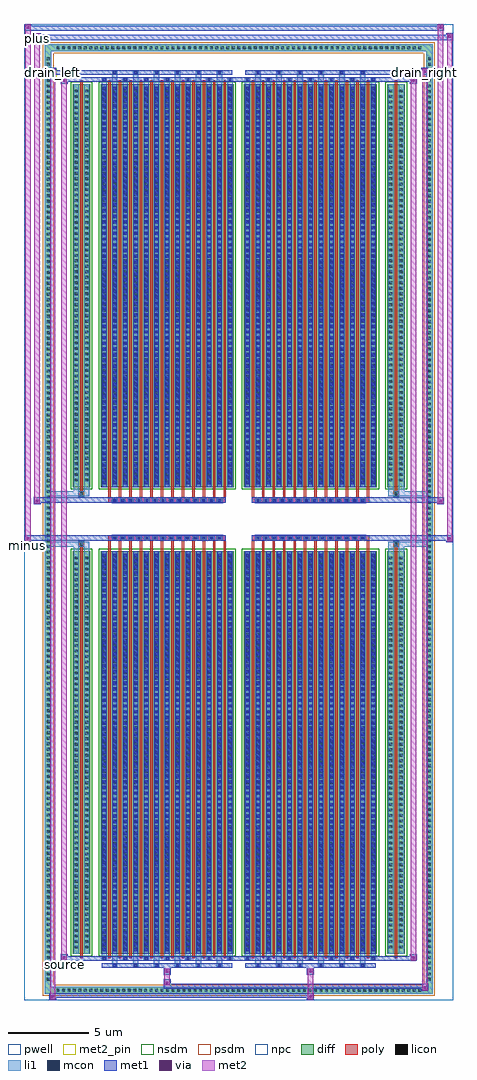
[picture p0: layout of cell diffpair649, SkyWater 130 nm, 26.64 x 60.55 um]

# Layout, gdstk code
import gdstk
lib = gdstk.Library(unit=1e-6, precision=5e-09)
def R(c, l, rs):  # rectangles x0, y0, x1, y1
    for r in rs: c.add(gdstk.rectangle(r[:2], r[2:], *l))
def A(c, l, x, y, w, h, nx, ny, dx, dy):  # array of equal rectangles
    R(c, l, [(x+i*dx, y+j*dy, x+i*dx+w, y+j*dy+h) for i in range(nx) for j in range(ny)])
def P(c, l, *ps):  # polygons
    for p in ps: c.add(gdstk.Polygon(p, *l))
pwell = (64, 44)
diff = (65, 20)
poly = (66, 20)
licon = (66, 44)
li1 = (67, 20)
mcon = (67, 44)
met1 = (68, 20)
via = (68, 44)
met2_pin = (69, 16)
met2 = (69, 20)
nsdm = (93, 44)
psdm = (94, 20)
npc = (95, 20)

diffpair649 = lib.new_cell('diffpair649')
R(diffpair649, pwell, [(-13.3,-29.84,13.3,30.71), (-10.62,-28.03,-0.01,-0.805), (0.01,-28.03,10.62,-0.805), (-10.62,0.805,-0.01,28.03), (0.01,0.805,10.62,28.03)])
A(diffpair649, diff, -11.425, -29.44, 0.41, 0.41, 67, 2, 0.34, 58.47)
A(diffpair649, diff, -12.03, -28.765, 0.41, 0.41, 1, 169, 0, 0.34)
A(diffpair649, diff, 11.62, -28.765, 0.41, 0.41, 1, 169, 0, 0.34)
R(diffpair649, diff, [(-11.425,-29.44,11.425,-29.03), (-12.03,-28.765,-11.62,28.765), (11.62,-28.765,12.03,28.765), (-10.31,-26.985,-9.21,-1.985), (-8.57,-26.985,-0.32,-1.985), (0.32,-26.985,8.57,-1.985), (9.21,-26.985,10.31,-1.985), (-10.31,1.985,-9.21,26.985), (-8.57,1.985,-0.32,26.985), (0.32,1.985,8.57,26.985), (9.21,1.985,10.31,26.985), (-11.425,29.03,11.425,29.44)])
P(diffpair649, diff, [(12.03,29.44),(-12.03,29.44),(-12.03,-29.03),(-11.62,-29.03),(-11.62,29.03),(11.62,29.03),(11.62,-29.03),(-11.62,-29.03),(-12.03,-29.03),(-12.03,-29.44),(12.03,-29.44)])
A(diffpair649, poly, -8.095, -27.235, 0.15, 25.5, 12, 2, 0.65, 28.97)
A(diffpair649, poly, 0.795, -27.235, 0.15, 25.5, 12, 2, 0.65, 28.97)
A(diffpair649, poly, -8.095, -1.735, 0.15, 0.4, 12, 2, 0.65, 3.07)
A(diffpair649, poly, 0.795, -1.735, 0.15, 0.4, 12, 2, 0.65, 3.07)
A(diffpair649, poly, -7.86, -1.335, 0.33, 0.33, 14, 2, 0.5, 2.34)
A(diffpair649, poly, 1.03, -1.335, 0.33, 0.33, 14, 2, 0.5, 2.34)
R(diffpair649, poly, [(-9.835,-27.235,-9.685,-1.735), (9.685,-27.235,9.835,-1.735), (-9.925,-1.735,-9.595,-1.405), (-9.925,-1.735,-9.595,-1.405), (9.595,-1.735,9.925,-1.405), (9.595,-1.735,9.925,-1.405), (-8.095,-1.335,-0.795,-1.005), (0.795,-1.335,8.095,-1.005), (-8.095,1.005,-0.795,1.335), (0.795,1.005,8.095,1.335), (-9.925,1.405,-9.595,1.735), (-9.925,1.405,-9.595,1.735), (9.595,1.405,9.925,1.735), (9.595,1.405,9.925,1.735), (-9.835,1.735,-9.685,27.235), (9.685,1.735,9.835,27.235)])
A(diffpair649, licon, -11.305, -29.32, 0.17, 0.17, 67, 2, 0.34, 58.47)
A(diffpair649, licon, -11.91, -28.645, 0.17, 0.17, 1, 169, 0, 0.34)
A(diffpair649, licon, 11.74, -28.645, 0.17, 0.17, 1, 169, 0, 0.34)
A(diffpair649, licon, -10.17, -26.64, 0.17, 0.17, 1, 72, 0, 0.34)
A(diffpair649, licon, -9.52, -26.64, 0.17, 0.17, 1, 72, 0, 0.34)
A(diffpair649, licon, -8.43, -26.64, 0.17, 0.17, 13, 72, 0.65, 0.34)
A(diffpair649, licon, 0.46, -26.64, 0.17, 0.17, 13, 72, 0.65, 0.34)
A(diffpair649, licon, 9.35, -26.64, 0.17, 0.17, 1, 72, 0, 0.34)
A(diffpair649, licon, 10, -26.64, 0.17, 0.17, 1, 72, 0, 0.34)
A(diffpair649, licon, -7.78, -1.255, 0.17, 0.17, 14, 2, 0.5, 2.34)
A(diffpair649, licon, 1.11, -1.255, 0.17, 0.17, 14, 2, 0.5, 2.34)
A(diffpair649, licon, -10.17, 2.33, 0.17, 0.17, 1, 72, 0, 0.34)
A(diffpair649, licon, -9.52, 2.33, 0.17, 0.17, 1, 72, 0, 0.34)
A(diffpair649, licon, -8.43, 2.33, 0.17, 0.17, 13, 72, 0.65, 0.34)
A(diffpair649, licon, 0.46, 2.33, 0.17, 0.17, 13, 72, 0.65, 0.34)
A(diffpair649, licon, 9.35, 2.33, 0.17, 0.17, 1, 72, 0, 0.34)
A(diffpair649, licon, 10, 2.33, 0.17, 0.17, 1, 72, 0, 0.34)
R(diffpair649, licon, [(-9.845,-1.655,-9.675,-1.485), (9.675,-1.655,9.845,-1.485), (-9.845,1.485,-9.675,1.655), (9.675,1.485,9.845,1.655)])
A(diffpair649, li1, -11.385, -29.4, 0.33, 0.33, 67, 2, 0.34, 58.47)
A(diffpair649, li1, -11.99, -28.725, 0.33, 0.33, 1, 169, 0, 0.34)
A(diffpair649, li1, 11.66, -28.725, 0.33, 0.33, 1, 169, 0, 0.34)
A(diffpair649, li1, -7.86, -27.79, 0.33, 0.805, 6, 2, 1.3, 54.775)
A(diffpair649, li1, -7.78, -27.79, 0.17, 0.17, 6, 2, 1.3, 55.41)
A(diffpair649, li1, 1.03, -27.79, 0.33, 0.805, 6, 2, 1.3, 54.775)
A(diffpair649, li1, 1.11, -27.79, 0.17, 0.17, 6, 2, 1.3, 55.41)
A(diffpair649, li1, -8.51, -27.36, 0.33, 0.375, 7, 2, 1.3, 54.345)
A(diffpair649, li1, -8.43, -27.36, 0.17, 0.17, 7, 2, 1.3, 54.55)
A(diffpair649, li1, 0.38, -27.36, 0.33, 0.375, 7, 2, 1.3, 54.345)
A(diffpair649, li1, 0.46, -27.36, 0.17, 0.17, 7, 2, 1.3, 54.55)
A(diffpair649, li1, -8.51, -26.985, 0.33, 25, 13, 2, 0.65, 28.97)
A(diffpair649, li1, 0.38, -26.985, 0.33, 25, 13, 2, 0.65, 28.97)
A(diffpair649, li1, -8.43, -26.81, 0.17, 0.17, 13, 69, 0.65, 0.36)
A(diffpair649, li1, -8.43, -26.81, 0.17, 24.65, 13, 2, 0.65, 28.97)
A(diffpair649, li1, 0.46, -26.81, 0.17, 0.17, 13, 69, 0.65, 0.36)
A(diffpair649, li1, 0.46, -26.81, 0.17, 24.65, 13, 2, 0.65, 28.97)
A(diffpair649, li1, -10.25, -26.72, 0.33, 0.33, 1, 72, 0, 0.34)
A(diffpair649, li1, -9.6, -26.72, 0.33, 0.33, 1, 72, 0, 0.34)
A(diffpair649, li1, -8.51, -26.72, 0.33, 0.33, 13, 72, 0.65, 0.34)
A(diffpair649, li1, 0.38, -26.72, 0.33, 0.33, 13, 72, 0.65, 0.34)
A(diffpair649, li1, 9.27, -26.72, 0.33, 0.33, 1, 72, 0, 0.34)
A(diffpair649, li1, 9.92, -26.72, 0.33, 0.33, 1, 72, 0, 0.34)
A(diffpair649, li1, -7.86, -1.335, 0.33, 0.33, 14, 2, 0.5, 2.34)
A(diffpair649, li1, 1.03, -1.335, 0.33, 0.33, 14, 2, 0.5, 2.34)
A(diffpair649, li1, -8.43, 2.16, 0.17, 0.17, 13, 69, 0.65, 0.36)
A(diffpair649, li1, 0.46, 2.16, 0.17, 0.17, 13, 69, 0.65, 0.36)
A(diffpair649, li1, -10.25, 2.25, 0.33, 0.33, 1, 72, 0, 0.34)
A(diffpair649, li1, -9.6, 2.25, 0.33, 0.33, 1, 72, 0, 0.34)
A(diffpair649, li1, -8.51, 2.25, 0.33, 0.33, 13, 72, 0.65, 0.34)
A(diffpair649, li1, 0.38, 2.25, 0.33, 0.33, 13, 72, 0.65, 0.34)
A(diffpair649, li1, 9.27, 2.25, 0.33, 0.33, 1, 72, 0, 0.34)
A(diffpair649, li1, 9.92, 2.25, 0.33, 0.33, 1, 72, 0, 0.34)
R(diffpair649, li1, [(-12.03,-29.44,-11.62,-29.03), (-12.03,-29.44,-11.62,-29.03), (-11.62,-29.44,11.62,-29.03), (11.62,-29.44,12.03,-29.03), (11.62,-29.44,12.03,-29.03), (-12.03,-29.03,-11.62,29.03), (11.62,-29.03,12.03,29.03), (-10.25,-26.985,-9.92,-1.985), (-9.6,-26.985,-9.27,-1.985), (9.27,-26.985,9.6,-1.985), (9.92,-26.985,10.25,-1.985), (-10.25,-1.985,-9.92,-1.405), (-9.6,-1.985,-9.27,-1.405), (9.27,-1.985,9.6,-1.405), (9.92,-1.985,10.25,-1.405), (-12.03,-1.735,-9.925,-1.405), (-10.25,-1.735,-9.925,-1.405), (-9.925,-1.735,-9.595,-1.405), (-9.595,-1.735,-9.27,-1.405), (9.27,-1.735,9.595,-1.405), (9.595,-1.735,9.925,-1.405), (9.595,-1.735,12.03,-1.405), (9.925,-1.735,10.25,-1.405), (-12.03,1.405,-9.925,1.735), (-10.25,1.405,-9.925,1.735), (-10.25,1.405,-9.92,1.985), (-9.925,1.405,-9.595,1.735), (-9.6,1.405,-9.27,1.985), (-9.595,1.405,-9.27,1.735), (9.27,1.405,9.595,1.735), (9.27,1.405,9.6,1.985), (9.595,1.405,9.925,1.735), (9.595,1.405,12.03,1.735), (9.92,1.405,10.25,1.985), (9.925,1.405,10.25,1.735), (-10.25,1.985,-9.92,26.985), (-9.6,1.985,-9.27,26.985), (9.27,1.985,9.6,26.985), (9.92,1.985,10.25,26.985), (-12.03,29.03,-11.62,29.44), (-12.03,29.03,-11.62,29.44), (-11.62,29.03,11.62,29.44), (11.62,29.03,12.03,29.44), (11.62,29.03,12.03,29.44)])
A(diffpair649, mcon, -7.78, -27.79, 0.17, 0.17, 6, 2, 1.3, 55.41)
A(diffpair649, mcon, 1.11, -27.79, 0.17, 0.17, 6, 2, 1.3, 55.41)
A(diffpair649, mcon, -8.43, -27.36, 0.17, 0.17, 7, 2, 1.3, 54.55)
A(diffpair649, mcon, 0.46, -27.36, 0.17, 0.17, 7, 2, 1.3, 54.55)
A(diffpair649, mcon, -8.43, -26.81, 0.17, 0.17, 13, 69, 0.65, 0.36)
A(diffpair649, mcon, 0.46, -26.81, 0.17, 0.17, 13, 69, 0.65, 0.36)
A(diffpair649, mcon, -7.78, -1.255, 0.17, 0.17, 14, 2, 0.5, 2.34)
A(diffpair649, mcon, 1.11, -1.255, 0.17, 0.17, 14, 2, 0.5, 2.34)
A(diffpair649, mcon, -8.43, 2.16, 0.17, 0.17, 13, 69, 0.65, 0.36)
A(diffpair649, mcon, 0.46, 2.16, 0.17, 0.17, 13, 69, 0.65, 0.36)
A(diffpair649, met1, -7.84, -27.85, 0.29, 0.29, 6, 2, 1.3, 55.41)
A(diffpair649, met1, 1.05, -27.85, 0.29, 0.29, 6, 2, 1.3, 55.41)
A(diffpair649, met1, -8.49, -27.42, 0.29, 0.29, 7, 2, 1.3, 54.55)
A(diffpair649, met1, 0.4, -27.42, 0.29, 0.29, 7, 2, 1.3, 54.55)
A(diffpair649, met1, -8.49, -26.985, 0.29, 25, 13, 2, 0.65, 28.97)
A(diffpair649, met1, 0.4, -26.985, 0.29, 25, 13, 2, 0.65, 28.97)
A(diffpair649, met1, -8.49, -26.87, 0.29, 0.29, 13, 69, 0.65, 0.36)
A(diffpair649, met1, 0.4, -26.87, 0.29, 0.29, 13, 69, 0.65, 0.36)
A(diffpair649, met1, -7.84, -1.315, 0.29, 0.29, 14, 2, 0.5, 2.34)
A(diffpair649, met1, 1.05, -1.315, 0.29, 0.29, 14, 2, 0.5, 2.34)
A(diffpair649, met1, -8.49, 2.1, 0.29, 0.29, 13, 69, 0.65, 0.36)
A(diffpair649, met1, 0.4, 2.1, 0.29, 0.29, 13, 69, 0.65, 0.36)
R(diffpair649, met1, [(-11.76,-29.84,-11.33,-29.41), (4.23,-29.84,4.66,-29.41), (-11.76,-29.7,4.66,-29.41), (11.33,-29.27,11.76,-28.84), (-4.66,-29.13,11.76,-28.84), (-4.66,-28.99,-4.23,-28.56), (-4.66,-28.28,-4.23,-27.85), (4.23,-28.28,4.66,-27.85), (-8.49,-27.85,-0.4,-27.56), (0.4,-27.85,8.49,-27.56), (-11.05,-27.42,-10.62,-26.99), (-11.05,-27.42,-8.49,-27.13), (-8.49,-27.42,-0.4,-27.13), (-0.4,-27.42,0.4,-27.13), (0.4,-27.42,8.49,-27.13), (8.49,-27.42,11.05,-27.13), (10.62,-27.42,11.05,-26.99), (-13.3,-1.435,-12.87,-1.005), (12.87,-1.435,13.3,-1.005), (-13.3,-1.335,-0.795,-1.005), (-8.095,-1.335,-0.795,-1.005), (0.795,-1.335,8.095,-1.005), (0.795,-1.335,13.3,-1.005), (-12.73,0.905,-12.3,1.335), (12.3,0.905,12.73,1.335), (-12.73,1.005,-8.095,1.335), (-8.095,1.005,-0.795,1.335), (0.795,1.005,8.095,1.335), (8.095,1.005,12.73,1.335), (-11.05,26.99,-10.62,27.42), (10.62,26.99,11.05,27.42), (-11.05,27.13,-8.49,27.42), (-8.49,27.13,-0.4,27.42), (-0.4,27.13,0.4,27.42), (0.4,27.13,8.49,27.42), (8.49,27.13,11.05,27.42), (-11.76,27.56,-11.33,27.99), (-11.76,27.56,-8.49,27.85), (-8.49,27.56,-0.4,27.85), (0.4,27.56,8.49,27.85), (8.49,27.56,11.76,27.85), (11.33,27.56,11.76,27.99), (-12.73,29.71,-12.3,30.14), (-12.73,29.71,-10.62,30.04), (-10.62,29.71,10.62,30.04), (10.62,29.71,13.3,30.04), (12.87,29.71,13.3,30.14), (-13.3,30.28,-12.87,30.71), (-13.3,30.28,-10.62,30.61), (-10.62,30.28,10.62,30.61), (10.62,30.28,12.73,30.61), (12.3,30.28,12.73,30.71)])
R(diffpair649, via, [(-11.62,-29.7,-11.47,-29.55), (4.37,-29.7,4.52,-29.55), (11.47,-29.13,11.62,-28.98), (-4.52,-28.85,-4.37,-28.7), (-4.52,-28.14,-4.37,-27.99), (4.37,-28.14,4.52,-27.99), (-10.91,-27.28,-10.76,-27.13), (10.76,-27.28,10.91,-27.13), (-13.16,-1.295,-13.01,-1.145), (13.01,-1.295,13.16,-1.145), (-12.59,1.045,-12.44,1.195), (12.44,1.045,12.59,1.195), (-10.91,27.13,-10.76,27.28), (10.76,27.13,10.91,27.28), (-11.62,27.7,-11.47,27.85), (11.47,27.7,11.62,27.85), (-12.59,29.85,-12.44,30), (13.01,29.85,13.16,30), (-13.16,30.42,-13.01,30.57), (12.44,30.42,12.59,30.57)])
R(diffpair649, met2_pin, [(-11.085,-27.87,-10.585,-27.37), (-13.335,-1.885,-12.835,-1.385), (-11.795,27.44,-11.295,27.94), (11.295,27.44,11.795,27.94), (-12.765,29.59,-12.265,30.09)])
R(diffpair649, met2, [(-11.71,-29.79,-11.38,-29.46), (-11.71,-29.79,-11.38,27.94), (4.28,-29.79,4.61,-29.46), (4.28,-29.46,4.61,-28.23), (11.38,-29.22,11.71,-28.89), (11.38,-29.22,11.71,27.94), (-4.61,-28.94,-4.28,-28.61), (-4.61,-28.61,-4.28,-28.23), (-4.61,-28.23,-4.28,-27.9), (4.28,-28.23,4.61,-27.9), (-11,-27.37,-10.67,-27.04), (-11,-27.37,-10.67,27.37), (10.67,-27.37,11,-27.04), (10.67,-27.37,11,27.37), (-13.25,-1.385,-12.92,-1.055), (-13.25,-1.385,-12.92,30.66), (12.92,-1.385,13.25,-1.055), (12.92,-1.385,13.25,30.09), (-12.68,0.955,-12.35,1.285), (-12.68,0.955,-12.35,30.09), (12.35,0.955,12.68,1.285), (12.35,0.955,12.68,30.66), (-11,27.04,-10.67,27.37), (10.67,27.04,11,27.37), (-11.71,27.61,-11.38,27.94), (11.38,27.61,11.71,27.94), (-12.68,29.76,-12.35,30.09), (12.92,29.76,13.25,30.09), (-13.25,30.33,-12.92,30.66), (12.35,30.33,12.68,30.66)])
P(diffpair649, met2, [(13.25,-1.385),(13.25,-1.385),(13.25,-1.055),(13.25,-1.055)],
  [(13.25,29.76),(13.25,29.76),(13.25,30.09),(13.25,30.09)],
  [(-12.92,-1.385),(-12.92,-1.385),(-12.92,-1.055),(-12.92,-1.055)],
  [(-12.92,30.33),(-12.92,30.33),(-12.92,30.66),(-12.92,30.66)],
  [(12.68,0.955),(12.68,0.955),(12.68,1.285),(12.68,1.285)],
  [(12.68,30.33),(12.68,30.33),(12.68,30.66),(12.68,30.66)],
  [(-12.35,0.955),(-12.35,0.955),(-12.35,1.285),(-12.35,1.285)],
  [(-12.35,29.76),(-12.35,29.76),(-12.35,30.09),(-12.35,30.09)],
  [(-11.38,-29.79),(-11.38,-29.79),(-11.38,-29.46),(-11.38,-29.46)],
  [(-11.38,27.61),(-11.38,27.61),(-11.38,27.94),(-11.38,27.94)],
  [(11.71,-29.22),(11.71,-29.22),(11.71,-28.89),(11.71,-28.89)],
  [(11.71,27.61),(11.71,27.61),(11.71,27.94),(11.71,27.94)],
  [(-10.67,-27.37),(-10.67,-27.37),(-10.67,-27.04),(-10.67,-27.04)],
  [(-10.67,27.04),(-10.67,27.04),(-10.67,27.37),(-10.67,27.37)],
  [(11,-27.37),(11,-27.37),(11,-27.04),(11,-27.04)],
  [(11,27.04),(11,27.04),(11,27.37),(11,27.37)])
R(diffpair649, nsdm, [(-10.44,-27.115,-9.08,-1.855), (-8.7,-27.115,-0.19,-1.855), (0.19,-27.115,8.7,-1.855), (9.08,-27.115,10.44,-1.855), (-10.44,1.855,-9.08,27.115), (-8.7,1.855,-0.19,27.115), (0.19,1.855,8.7,27.115), (9.08,1.855,10.44,27.115)])
P(diffpair649, psdm, [(12.16,29.57),(-12.16,29.57),(-12.16,-28.9),(-11.49,-28.9),(-11.49,28.9),(11.49,28.9),(11.49,-28.9),(-11.49,-28.9),(-12.16,-28.9),(-12.16,-29.57),(12.16,-29.57)])
A(diffpair649, npc, -7.88, -1.355, 0.37, 0.37, 14, 2, 0.5, 2.34)
A(diffpair649, npc, 1.01, -1.355, 0.37, 0.37, 14, 2, 0.5, 2.34)
R(diffpair649, npc, [(-9.945,-1.755,-9.575,-1.385), (9.575,-1.755,9.945,-1.385), (-7.88,-1.355,-7.01,-0.985), (-7.88,-1.355,-7.01,-0.985), (-7.38,-1.355,-6.51,-0.985), (-7.38,-1.355,-6.51,-0.985), (-6.88,-1.355,-6.01,-0.985), (-6.88,-1.355,-6.01,-0.985), (-6.38,-1.355,-5.51,-0.985), (-6.38,-1.355,-5.51,-0.985), (-5.88,-1.355,-5.01,-0.985), (-5.88,-1.355,-5.01,-0.985), (-5.38,-1.355,-4.51,-0.985), (-5.38,-1.355,-4.51,-0.985), (-4.88,-1.355,-4.01,-0.985), (-4.88,-1.355,-4.01,-0.985), (-4.38,-1.355,-3.51,-0.985), (-4.38,-1.355,-3.51,-0.985), (-3.88,-1.355,-3.01,-0.985), (-3.88,-1.355,-3.01,-0.985), (-3.38,-1.355,-2.51,-0.985), (-3.38,-1.355,-2.51,-0.985), (-2.88,-1.355,-2.01,-0.985), (-2.88,-1.355,-2.01,-0.985), (-2.38,-1.355,-1.51,-0.985), (-2.38,-1.355,-1.51,-0.985), (-1.88,-1.355,-1.01,-0.985), (-1.88,-1.355,-1.01,-0.985), (1.01,-1.355,1.88,-0.985), (1.01,-1.355,1.88,-0.985), (1.51,-1.355,2.38,-0.985), (1.51,-1.355,2.38,-0.985), (2.01,-1.355,2.88,-0.985), (2.01,-1.355,2.88,-0.985), (2.51,-1.355,3.38,-0.985), (2.51,-1.355,3.38,-0.985), (3.01,-1.355,3.88,-0.985), (3.01,-1.355,3.88,-0.985), (3.51,-1.355,4.38,-0.985), (3.51,-1.355,4.38,-0.985), (4.01,-1.355,4.88,-0.985), (4.01,-1.355,4.88,-0.985), (4.51,-1.355,5.38,-0.985), (4.51,-1.355,5.38,-0.985), (5.01,-1.355,5.88,-0.985), (5.01,-1.355,5.88,-0.985), (5.51,-1.355,6.38,-0.985), (5.51,-1.355,6.38,-0.985), (6.01,-1.355,6.88,-0.985), (6.01,-1.355,6.88,-0.985), (6.51,-1.355,7.38,-0.985), (6.51,-1.355,7.38,-0.985), (7.01,-1.355,7.88,-0.985), (7.01,-1.355,7.88,-0.985), (-7.88,0.985,-7.01,1.355), (-7.88,0.985,-7.01,1.355), (-7.38,0.985,-6.51,1.355), (-7.38,0.985,-6.51,1.355), (-6.88,0.985,-6.01,1.355), (-6.88,0.985,-6.01,1.355), (-6.38,0.985,-5.51,1.355), (-6.38,0.985,-5.51,1.355), (-5.88,0.985,-5.01,1.355), (-5.88,0.985,-5.01,1.355), (-5.38,0.985,-4.51,1.355), (-5.38,0.985,-4.51,1.355), (-4.88,0.985,-4.01,1.355), (-4.88,0.985,-4.01,1.355), (-4.38,0.985,-3.51,1.355), (-4.38,0.985,-3.51,1.355), (-3.88,0.985,-3.01,1.355), (-3.88,0.985,-3.01,1.355), (-3.38,0.985,-2.51,1.355), (-3.38,0.985,-2.51,1.355), (-2.88,0.985,-2.01,1.355), (-2.88,0.985,-2.01,1.355), (-2.38,0.985,-1.51,1.355), (-2.38,0.985,-1.51,1.355), (-1.88,0.985,-1.01,1.355), (-1.88,0.985,-1.01,1.355), (1.01,0.985,1.88,1.355), (1.01,0.985,1.88,1.355), (1.51,0.985,2.38,1.355), (1.51,0.985,2.38,1.355), (2.01,0.985,2.88,1.355), (2.01,0.985,2.88,1.355), (2.51,0.985,3.38,1.355), (2.51,0.985,3.38,1.355), (3.01,0.985,3.88,1.355), (3.01,0.985,3.88,1.355), (3.51,0.985,4.38,1.355), (3.51,0.985,4.38,1.355), (4.01,0.985,4.88,1.355), (4.01,0.985,4.88,1.355), (4.51,0.985,5.38,1.355), (4.51,0.985,5.38,1.355), (5.01,0.985,5.88,1.355), (5.01,0.985,5.88,1.355), (5.51,0.985,6.38,1.355), (5.51,0.985,6.38,1.355), (6.01,0.985,6.88,1.355), (6.01,0.985,6.88,1.355), (6.51,0.985,7.38,1.355), (6.51,0.985,7.38,1.355), (7.01,0.985,7.88,1.355), (7.01,0.985,7.88,1.355), (-9.945,1.385,-9.575,1.755), (9.575,1.385,9.945,1.755)])
diffpair649.add(gdstk.Label('minus', (-13.085,-1.635), layer=69, texttype=5))
diffpair649.add(gdstk.Label('drain_right', (11.545,27.69), layer=69, texttype=5))
diffpair649.add(gdstk.Label('drain_left', (-11.545,27.69), layer=69, texttype=5))
diffpair649.add(gdstk.Label('source', (-10.835,-27.62), layer=69, texttype=5))
diffpair649.add(gdstk.Label('plus', (-12.515,29.84), layer=69, texttype=5))

lib.write_gds('diffpair649.gds')
